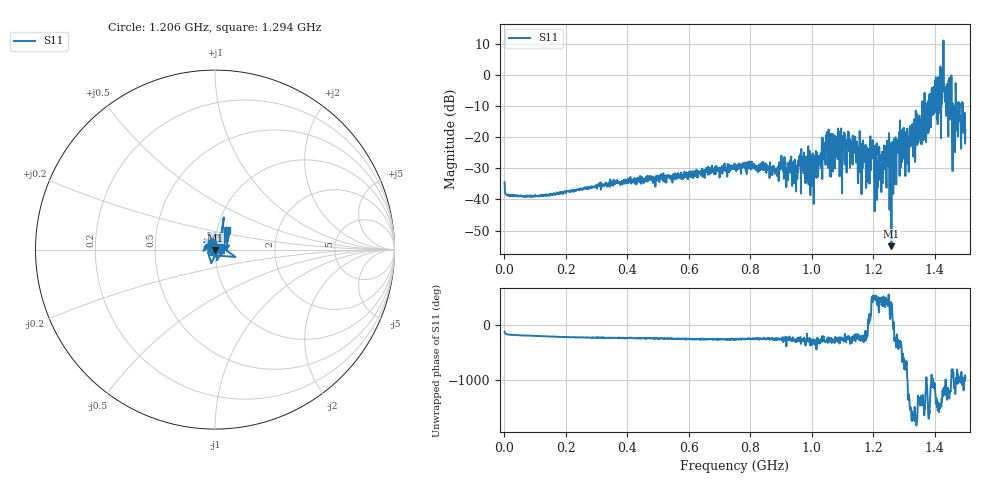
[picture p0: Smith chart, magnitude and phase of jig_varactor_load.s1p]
# Hz S RI R 50
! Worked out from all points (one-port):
!   1514 points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, 1.041 MHz to 1.5 GHz, reference 50 ohm
!   lowest |S11| = -55.0 dB at 1.259 GHz (marker M1), VSWR 1.00, Z = 49.9 - j0.155 ohm
!   |S11| at or under -10 dB: start of sweep to 1.359 GHz; 1.481 GHz to 1.49 GHz (8.534 MHz wide, 0.574 % of centre); 1.491 GHz to end of sweep (the widest 3 of 26)
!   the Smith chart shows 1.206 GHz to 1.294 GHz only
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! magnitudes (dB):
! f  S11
! 1.041 MHz  -34.5
! 14.91 MHz  -38.5
! 189.3 MHz  -37.6
! 376.5 MHz  -35.1
! 563.8 MHz  -32.0
! 751 MHz  -29.5
! 938.3 MHz  -34.9
! 965 MHz  -38.1
! 1.001 GHz  -32.2
! 1.053 GHz  -29.8
! 1.063 GHz  -32.7
! 1.126 GHz  -29.1
! 1.181 GHz  -28.9
! 1.196 GHz  -22.1
! 1.22 GHz  -23.0
! 1.245 GHz  -21.1
! 1.259 GHz  -55.0
! 1.278 GHz  -20.9
! 1.313 GHz  -22.9
! 1.375 GHz  -9.1
! 1.397 GHz  -4.6
! 1.414 GHz  -8.2
! 1.425 GHz  0.6
! 1.438 GHz  -13.2
! 1.448 GHz  -0.9
! 1.463 GHz  -13.9
! 1.475 GHz  -12.7
! 1.5 GHz  -17.7
